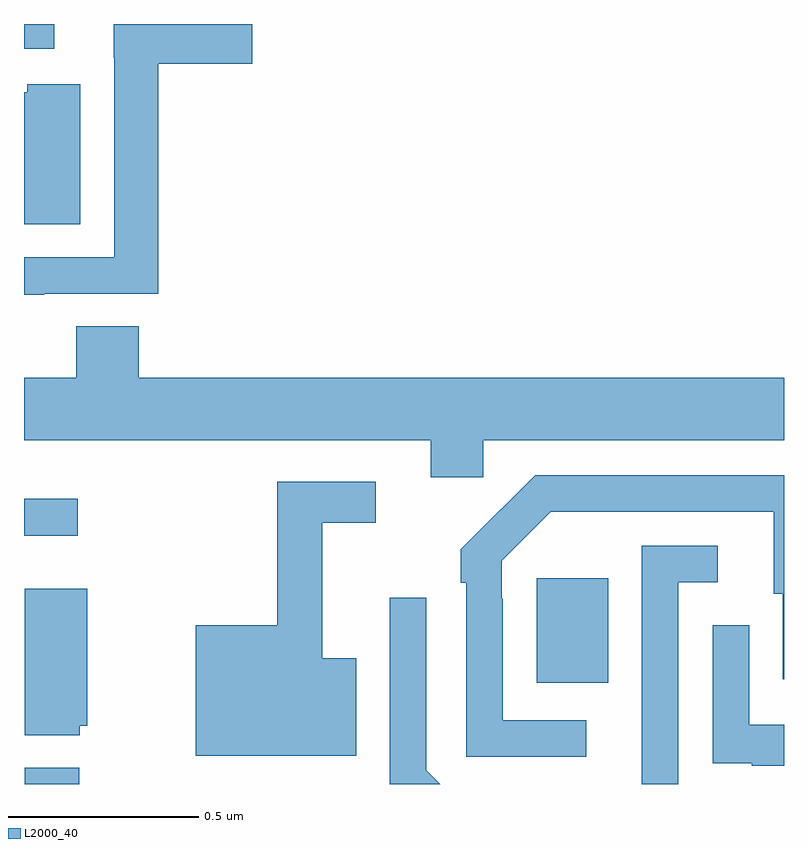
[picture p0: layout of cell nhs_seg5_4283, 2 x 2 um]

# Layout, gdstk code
import gdstk
lib = gdstk.Library(unit=1e-6, precision=1e-09)
def R(c, l, rs):  # rectangles x0, y0, x1, y1
    for r in rs: c.add(gdstk.rectangle(r[:2], r[2:], *l))
def P(c, l, *ps):  # polygons
    for p in ps: c.add(gdstk.Polygon(p, *l))
L2000_40 = (2000, 40)

nhs_seg5_4283 = lib.new_cell('nhs_seg5_4283')
R(nhs_seg5_4283, L2000_40, [(168.002,911.799,168.146,911.842), (169.349,912.065,169.537,912.34), (168,912.452,168.142,912.55), (168,913.734,168.079,913.799)])
P(nhs_seg5_4283, L2000_40, [(168.053,913.089),(168.353,913.089),(168.353,913.694),(168.601,913.694),(168.601,913.799),(168.236,913.799),(168.236,913.71),(168.237,913.71),(168.237,913.185),(168,913.185),(168,913.087),(168.053,913.087)],
  [(168.148,913.641),(168.009,913.641),(168.009,913.62),(168,913.62),(168,913.272),(168.148,913.272)],
  [(169.209,912.704),(170,912.704),(170,912.868),(168.302,912.868),(168.302,913.004),(168.137,913.004),(168.137,912.868),(168,912.868),(168,912.704),(169.07,912.704),(169.07,912.606),(169.209,912.606)],
  [(169.48,911.967),(169.26,911.967),(169.26,912.287),(169.257,912.287),(169.257,912.387),(169.386,912.516),(169.973,912.516),(169.973,912.3),(169.997,912.3),(169.997,912.075),(170,912.075),(170,912.612),(169.346,912.612),(169.255,912.521),(169.254,912.522),(169.149,912.417),(169.149,912.329),(169.164,912.329),(169.164,911.871),(169.48,911.871)],
  [(168.874,912.13),(168.785,912.13),(168.785,912.486),(168.925,912.486),(168.925,912.594),(168.667,912.594),(168.667,912.217),(168.452,912.217),(168.452,911.873),(168.874,911.873)],
  [(169.722,912.33),(169.825,912.33),(169.825,912.426),(169.626,912.426),(169.626,911.969),(169.625,911.969),(169.625,911.799),(169.722,911.799)],
  [(168.147,911.952),(168.166,911.952),(168.166,912.313),(168.002,912.313),(168.002,911.927),(168.147,911.927)],
  [(169.059,911.835),(169.059,912.289),(168.963,912.289),(168.963,911.799),(169.095,911.799)],
  [(170,911.955),(169.908,911.955),(169.908,912.217),(169.812,912.217),(169.812,911.962),(169.813,911.962),(169.813,911.853),(169.915,911.853),(169.915,911.847),(170,911.847)])

lib.write_gds('nhs_seg5_4283.gds')
